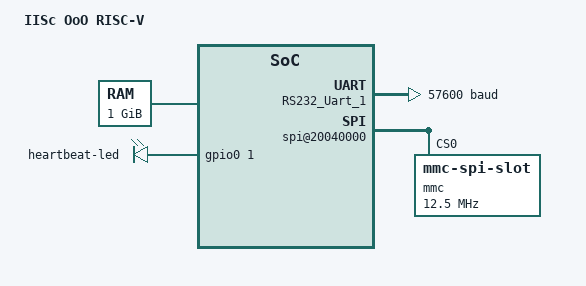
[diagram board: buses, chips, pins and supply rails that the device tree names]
/dts-v1/;

/ {
  #address-cells = <2>;
  #size-cells = <2>;
  model = "IISc OoO RISC-V";

  chosen {
    bootargs = "earlycon console=hvc debug single";
    stdout-path = "/soc/serial@20000000:57600n81";
  };

  cpus {
    #address-cells = <1>;
    #size-cells = <0>;
    timebase-frequency = <1000000>; // 1 MHz

    CPU0: cpu@0 {
      clock-frequency = <16000000>; // 16 MHz
      device_type = "cpu";
      reg = <0>;
      status = "okay";
      compatible = "riscv";
      riscv,isa = "rv64imafdc";

      d-cache-block-size = <32>;
      d-cache-sets = <128>;
      d-cache-size = <16384>;
      d-tlb-sets = <1>;
      d-tlb-size = <32>;
      i-cache-block-size = <32>;
      i-cache-sets = <128>;
      i-cache-size = <16384>;
      i-tlb-sets = <1>;
      i-tlb-size = <32>;

      mmu-type = "riscv,sv39";
      tlb-split;

      // HLIC - hart local interrupt controller
      CPU0_intc: interrupt-controller {
        #interrupt-cells = <1>;
        interrupt-controller;
        compatible = "riscv,cpu-intc";
      };
    };
  };

  memory@80000000 {
    device_type = "memory";
    reg = <0x0 0x80000000 0x0 0x40000000>;
  };

  leds {
    compatible = "gpio-leds";
    heartbeat-led {
      gpios = <&gpio0 1 0>;
      linux,default-trigger = "heartbeat";
      retain-state-suspended;
    };
  };
  
  ooo_soc: soc {
    #address-cells = <2>;
    #size-cells = <2>;
    compatible = "simple-bus";
    ranges;

    clint@2000000 {
      compatible = "riscv,clint0";
      interrupts-extended = <&CPU0_intc 3 &CPU0_intc 7>;
      reg = <0x0 0x2000000 0x0 0x10000>;
      reg-names = "control";
    };

    PLIC: interrupt-controller@c000000 {
      #address-cells = <0>;
      #interrupt-cells = <1>;
      compatible = "riscv,plic0";
      interrupt-controller;
      interrupts-extended = <&CPU0_intc 11 &CPU0_intc 9>;
      reg = <0x0 0xc000000 0x0 0x4000000>;
      riscv,max-priority = <7>;
      riscv,ndev = <6>;
    };

    RS232_Uart_1: serial@20000000 {
      clock-frequency = <16000000>;
      compatible = "xlnx,axi-uartlite-1.02.a","xlnx,xps-uartlite-1.00.a","xlnx,xps-uartlite-1.02.a";
      current-speed = <57600>;
      device_type = "serial";
      reg = <0x0 0x20000000 0x0 0x1000>;
      interrupt-parent = <&PLIC>;
      interrupts = <1>;
      xlnx,baudrate = <0xE100>;
      xlnx,data-bits = <0x8>;
      xlnx,family = "virtex7";
      xlnx,odd-parity = <0x0>;
      xlnx,use-parity = <0x0>;
    };

    spi@20040000 {
      compatible = "xlnx,xps-spi-2.00.b", "xlnx,xps-spi-2.00.a";
      #address-cells = <1>;
      #size-cells = <0>;
      interrupt-parent = <&PLIC>;
      interrupts = <5>;
      reg = < 0x0 0x20040000 0x0 0x1000 >;
      xlnx,family = "virtex7";
      xlnx,fifo-exist = <0x1>;
      xlnx,num-ss-bits = <0x1>;
      xlnx,num-transfer-bits = <0x8>;
      xlnx,sck-ratio = <0x4>;

      mmc@0 {
        compatible = "mmc-spi-slot";
        reg = <0>;
        spi-max-frequency = <12500000>;
        voltage-ranges = <3300 3300>;
        disable-wp;
      };
    };

    gpio0: gpio@20010000 {
      #gpio-cells = <2>;
      compatible = "xlnx,xps-gpio-1.00.a";
      gpio-controller ;
      reg = <0x0 0x20010000 0x0 0x10000 >;
      xlnx,all-inputs = <0x1>;
      xlnx,all-inputs-2 = <0x0>;
      xlnx,dout-default = <0x0>;
      xlnx,dout-default-2 = <0x1>;
      xlnx,gpio-width = <0x8>;
      xlnx,gpio2-width = <0x8>;
      interrupt-parent = <&PLIC>;
      interrupts = <2>;
      xlnx,interrupt-present = <0x1>;
      xlnx,is-dual = <0x1>;
      xlnx,tri-default = <0xffffffff>;
      xlnx,tri-default-2 = <0xffffffff>;
    };

    gpio1: gpio@20050000 {
      #gpio-cells = <2>;
      compatible = "xlnx,xps-gpio-1.00.a";
      gpio-controller ;
      reg = <0x0 0x20050000 0x0 0x10000 >;
      xlnx,all-inputs = <0x1>;
      xlnx,all-inputs-2 = <0x0>;
      xlnx,dout-default = <0x0>;
      xlnx,dout-default-2 = <0x1>;
      xlnx,gpio-width = <0x8>;
      xlnx,gpio2-width = <0x8>;
      interrupt-parent = <&PLIC>;
      interrupts = <6>;
      xlnx,interrupt-present = <0x1>;
      xlnx,is-dual = <0x1>;
      xlnx,tri-default = <0xffffffff>;
      xlnx,tri-default-2 = <0xffffffff>;
    };

  };
};


